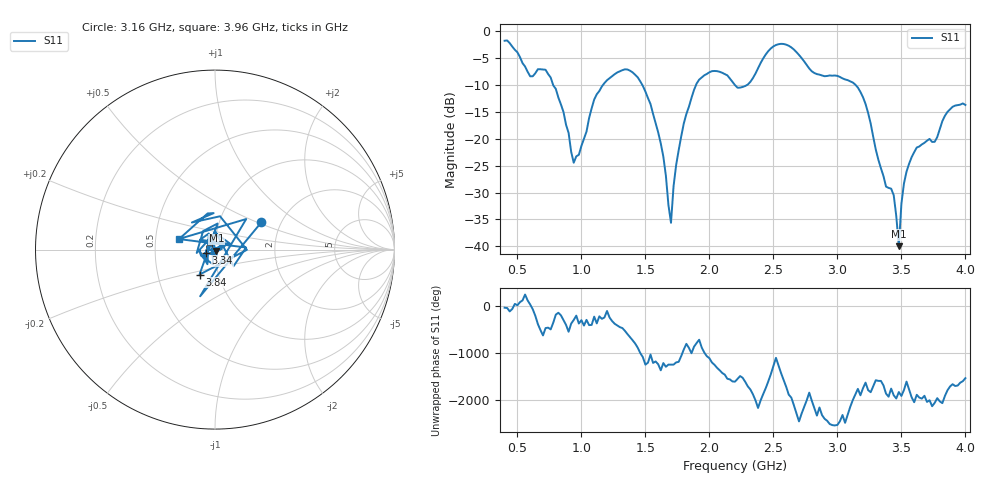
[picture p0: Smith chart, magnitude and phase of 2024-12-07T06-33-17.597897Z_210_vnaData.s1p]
!Created with skrf (http://scikit-rf.org).
# Hz S RI R 50.0
!freq ReS11 ImS11
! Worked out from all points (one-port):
!   181 points, 400 MHz to 4 GHz, reference 50 ohm
!   lowest |S11| = -40.0 dB at 3.48 GHz (marker M1), VSWR 1.02, Z = 50.8 - j0.623 ohm
!   |S11| at or under -10 dB: 779.2 MHz to 1.168 GHz (389.2 MHz wide, 40 % of centre); 1.476 GHz to 1.896 GHz (419.4 MHz wide, 24.9 % of centre); 3.143 GHz to end of sweep (the widest 3 of 4)
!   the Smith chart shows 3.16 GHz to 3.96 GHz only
!   S11 on the Smith chart (normalised r, x): 3.16 GHz: 1.59, +0.53; 3.34 GHz: 0.90, -0.03; 3.84 GHz: 0.81, -0.23; 3.96 GHz: 0.66, +0.08
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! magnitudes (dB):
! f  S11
! 400 MHz  -1.8
! 600 MHz  -8.4
! 720 MHz  -7.2
! 860 MHz  -15.0
! 940 MHz  -24.5
! 1.12 GHz  -11.7
! 1.3 GHz  -7.5
! 1.44 GHz  -8.6
! 1.54 GHz  -13.5
! 1.64 GHz  -23.3
! 1.7 GHz  -35.6
! 1.72 GHz  -28.8
! 1.76 GHz  -22.1
! 1.92 GHz  -9.0
! 2.2 GHz  -10.0
! 2.3 GHz  -9.9
! 2.5 GHz  -2.8
! 2.66 GHz  -3.4
! 3.1 GHz  -9.3
! 3.16 GHz  -10.5
! 3.34 GHz  -25.5
! 3.44 GHz  -30.5
! 3.48 GHz  -40.0
! 3.5 GHz  -32.1
! 3.56 GHz  -24.7
! 3.84 GHz  -15.7
! 3.96 GHz  -13.7
! 4 GHz  -13.7
